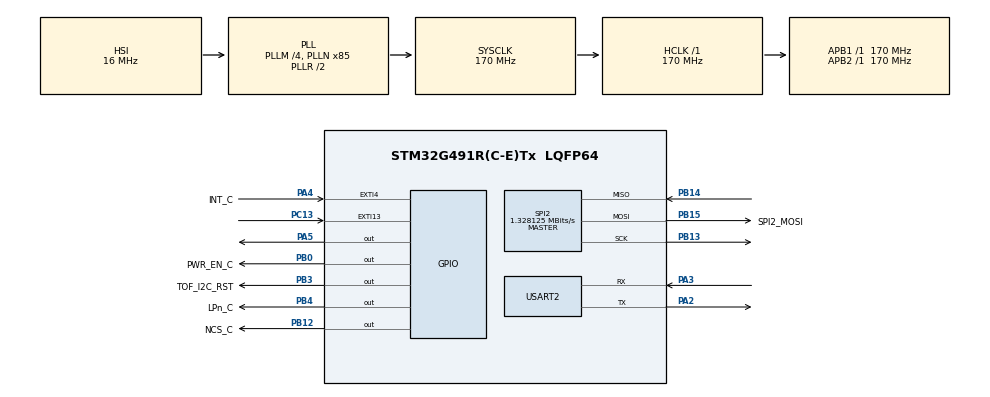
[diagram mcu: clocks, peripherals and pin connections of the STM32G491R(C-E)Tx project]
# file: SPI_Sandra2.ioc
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Mcu.Family=STM32G4
Mcu.Name=STM32G491R(C-E)Tx
Mcu.Package=LQFP64
NUCLEO-G491RE.BUTTON=1
NUCLEO-G491RE.LD2=true
NUCLEO-G491RE.VCP=true
NVIC.EXTI15_10_IRQn=true\:0\:0\:false\:false\:true\:true\:true\:true
NVIC.PriorityGroup=NVIC_PRIORITYGROUP_4
PA13.GPIO_Label=T_SWDIO
PA13.Signal=SYS_JTMS-SWDIO
PA14.GPIO_Label=T_SWCLK
PA14.Signal=SYS_JTCK-SWCLK
PA2.Mode=Asynchronous
PA2.Signal=USART2_TX
PA3.Mode=Asynchronous
PA3.Signal=USART2_RX
PA4.GPIO_Label=INT_C
PA4.GPIO_ModeDefaultEXTI=GPIO_MODE_IT_FALLING
PA4.Signal=GPXTI4
PA5.Signal=GPIO_Output
PB0.GPIO_Label=PWR_EN_C
PB0.GPIO_Speed=GPIO_SPEED_FREQ_HIGH
PB0.PinState=GPIO_PIN_SET
PB0.Signal=GPIO_Output
PB12.GPIO_Label=NCS_C
PB12.GPIO_Speed=GPIO_SPEED_FREQ_MEDIUM
PB12.PinState=GPIO_PIN_SET
PB12.Signal=GPIO_Output
PB13.Mode=Full_Duplex_Master
PB13.Signal=SPI2_SCK
PB14.Mode=Full_Duplex_Master
PB14.Signal=SPI2_MISO
PB15.GPIO_Label=SPI2_MOSI
PB15.GPIO_Speed=GPIO_SPEED_FREQ_HIGH
PB15.Mode=Full_Duplex_Master
PB15.Signal=SPI2_MOSI
PB3.GPIO_Label=TOF_I2C_RST
PB3.GPIO_PuPd=GPIO_PULLUP
PB3.GPIO_Speed=GPIO_SPEED_FREQ_HIGH
PB3.PinState=GPIO_PIN_SET
PB3.Signal=GPIO_Output
PB4.GPIO_Label=LPn_C
PB4.GPIO_PuPd=GPIO_PULLUP
PB4.GPIO_Speed=GPIO_SPEED_FREQ_HIGH
PB4.PinState=GPIO_PIN_SET
PB4.Signal=GPIO_Output
PC13.Signal=GPXTI13
PC14-OSC32_IN.GPIO_Label=RCC_OSC32_IN
PC14-OSC32_IN.Mode=LSE-External-Oscillator
PC14-OSC32_IN.Signal=RCC_OSC32_IN
PC15-OSC32_OUT.GPIO_Label=RCC_OSC32_OUT
PC15-OSC32_OUT.Mode=LSE-External-Oscillator
PC15-OSC32_OUT.Signal=RCC_OSC32_OUT
PF0-OSC_IN.GPIO_Label=RCC_OSC_IN
PF0-OSC_IN.Mode=HSE-External-Oscillator
PF0-OSC_IN.Signal=RCC_OSC_IN
PF1-OSC_OUT.GPIO_Label=RCC_OSC_OUT
PF1-OSC_OUT.Mode=HSE-External-Oscillator
PF1-OSC_OUT.Signal=RCC_OSC_OUT
ProjectManager.HeapSize=0x200
ProjectManager.StackSize=0x400
ProjectManager.TargetToolchain=STM32CubeIDE
RCC.ADC12Freq_Value=170000000
RCC.ADC345Freq_Value=170000000
RCC.AHBFreq_Value=170000000
RCC.APB1Freq_Value=170000000
RCC.APB1TimFreq_Value=170000000
RCC.APB2Freq_Value=170000000
RCC.APB2TimFreq_Value=170000000
RCC.CortexFreq_Value=170000000
RCC.EXTERNAL_CLOCK_VALUE=12288000
RCC.HCLKFreq_Value=170000000
RCC.HSE_VALUE=24000000
RCC.HSI48_VALUE=48000000
RCC.HSI_VALUE=16000000
RCC.PLLM=RCC_PLLM_DIV4
RCC.PLLN=85
RCC.RTCClockSelection=RCC_RTCCLKSOURCE_LSE
RCC.SYSCLKFreq_VALUE=170000000
RCC.SYSCLKSource=RCC_SYSCLKSOURCE_PLLCLK
RCC.USBFreq_Value=48000000
RCC.VCOOutputFreq_Value=340000000
SPI2.BaudRatePrescaler=SPI_BAUDRATEPRESCALER_128
SPI2.CLKPhase=SPI_PHASE_2EDGE
SPI2.CLKPolarity=SPI_POLARITY_HIGH
SPI2.CalculateBaudRate=1.328125 MBits/s
SPI2.DataSize=SPI_DATASIZE_8BIT
SPI2.Direction=SPI_DIRECTION_2LINES
SPI2.FirstBit=SPI_FIRSTBIT_MSB
SPI2.Mode=SPI_MODE_MASTER
SPI2.VirtualType=VM_MASTER
VP_NUCLEO-G491RE_VS_BSP_COMMON.Mode=COMMON
VP_SYS_VS_DBSignals.Mode=DisableDeadBatterySignals
board=NUCLEO-G491RE

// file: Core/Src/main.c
/* USER CODE BEGIN Header */
/**
  ******************************************************************************
  * @file           : main.c
  * @brief          : Main program body
  ******************************************************************************
  * @attention
  *
  * Copyright (c) 2025 STMicroelectronics.
  * All rights reserved.
  *
  * This software is licensed under terms that can be found in the LICENSE file
  * in the root directory of this software component.
  * If no LICENSE file comes with this software, it is provided AS-IS.
  *
  ******************************************************************************
  */
/* USER CODE END Header */
#include "main.h"

/* USER CODE BEGIN Includes */
#include <stdio.h>
#include "vl53l8cx_api.h"
/* USER CODE END Includes */

/* USER CODE BEGIN PTD */

#include "app_tof.h"
/* USER CODE END PTD */

/* USER CODE BEGIN PD */
#define is_interrupt 0 /*is_interrupt = 1 => get data by interrupt, = 0 => get data by polling */

/* Private includes ----------------------------------------------------------*/
/* USER CODE BEGIN Includes */

/* USER CODE END Includes */

/* Private typedef -----------------------------------------------------------*/
/* USER CODE BEGIN PTD */

/* USER CODE END PTD */

/* Private define ------------------------------------------------------------*/
/* USER CODE BEGIN PD */

/* USER CODE END PD */

COM_InitTypeDef BspCOMInit;
SPI_HandleTypeDef hspi2;

/* USER CODE BEGIN PV */
int status;
volatile int IntCount;
uint8_t p_data_ready;
VL53L8CX_Configuration 	Dev;
VL53L8CX_ResultsData 	Results;
uint8_t resolution, isAlive;
uint16_t idx;
/* USER CODE END PV */

void SystemClock_Config(void);
static void MX_GPIO_Init(void);
static void MX_SPI2_Init(void);

/* USER CODE BEGIN 0 */
void HAL_GPIO_EXTI_Callback(uint16_t GPIO_Pin)
{
	if (GPIO_Pin==INT_C_Pin)
	{
		IntCount++;
	}
}
/* Private user code ---------------------------------------------------------*/
/* USER CODE BEGIN 0 */

/* USER CODE END 0 */

int main(void)
{

  /* MCU Configuration--------------------------------------------------------*/

  /* Reset of all peripherals, Initializes the Flash interface and the Systick. */
  HAL_Init();

  /* Configure the system clock */
  SystemClock_Config();

  /* Initialize all configured peripherals */
  MX_GPIO_Init();
  MX_SPI2_Init();
  /* USER CODE BEGIN 2 */

  MX_TOF_Init();
  /* USER CODE END 2 */

  /* Initialize led */
  BSP_LED_Init(LED_GREEN);

  /* Initialize USER push-button, will be used to trigger an interrupt each time it's pressed.*/
  BSP_PB_Init(BUTTON_USER, BUTTON_MODE_EXTI);

  /* Initialize COM1 port (115200, 8 bits (7-bit data + 1 stop bit), no parity */
  BspCOMInit.BaudRate   = 115200;
  BspCOMInit.WordLength = COM_WORDLENGTH_8B;
  BspCOMInit.StopBits   = COM_STOPBITS_1;
  BspCOMInit.Parity     = COM_PARITY_NONE;
  BspCOMInit.HwFlowCtl  = COM_HWCONTROL_NONE;
  if (BSP_COM_Init(COM1, &BspCOMInit) != BSP_ERROR_NONE)
  {
    Error_Handler();
  }

  /* Infinite loop */
  while(1){

	//  HAL_Delay(2000);
	//  printf("No error");
	 MX_TOF_Process();

  }
  /* USER CODE BEGIN WHILE */

  //VL53L8CX_Reset_Sensor(&(Dev.platform));

/*	HAL_GPIO_WritePin(PWR_EN_C_GPIO_Port, PWR_EN_C_Pin, GPIO_PIN_RESET);
	HAL_Delay(20);
	HAL_GPIO_WritePin(PWR_EN_C_GPIO_Port, PWR_EN_C_Pin, GPIO_PIN_SET);
	HAL_Delay(20);
	HAL_GPIO_WritePin(LPn_C_GPIO_Port, LPn_C_Pin, GPIO_PIN_RESET);
	HAL_Delay(20);
	HAL_GPIO_WritePin(LPn_C_GPIO_Port, LPn_C_Pin, GPIO_PIN_SET);
	HAL_Delay(20);
*/
  // Reset and Power Cycle the Sensor
      /*HAL_GPIO_WritePin(PWR_EN_C_GPIO_Port, PWR_EN_C_Pin, GPIO_PIN_RESET);
      HAL_Delay(20);
      HAL_GPIO_WritePin(PWR_EN_C_GPIO_Port, PWR_EN_C_Pin, GPIO_PIN_SET);
      HAL_Delay(20);
      HAL_GPIO_WritePin(LPn_C_GPIO_Port, LPn_C_Pin, GPIO_PIN_RESET);
      HAL_Delay(20);
      HAL_GPIO_WritePin(LPn_C_GPIO_Port, LPn_C_Pin, GPIO_PIN_SET);
      HAL_Delay(20);
*/
      // Initialize the Sensor

    /* USER CODE END WHILE */

}

void SystemClock_Config(void)
{
  RCC_OscInitTypeDef RCC_OscInitStruct = {0};
  RCC_ClkInitTypeDef RCC_ClkInitStruct = {0};

  /** Configure the main internal regulator output voltage
  */
  HAL_PWREx_ControlVoltageScaling(PWR_REGULATOR_VOLTAGE_SCALE1_BOOST);

  /** Initializes the RCC Oscillators according to the specified parameters
  * in the RCC_OscInitTypeDef structure.
  */
  RCC_OscInitStruct.OscillatorType = RCC_OSCILLATORTYPE_HSI;
  RCC_OscInitStruct.HSIState = RCC_HSI_ON;
  RCC_OscInitStruct.HSICalibrationValue = RCC_HSICALIBRATION_DEFAULT;
  RCC_OscInitStruct.PLL.PLLState = RCC_PLL_ON;
  RCC_OscInitStruct.PLL.PLLSource = RCC_PLLSOURCE_HSI;
  RCC_OscInitStruct.PLL.PLLM = RCC_PLLM_DIV4;
  RCC_OscInitStruct.PLL.PLLN = 85;
  RCC_OscInitStruct.PLL.PLLP = RCC_PLLP_DIV2;
  RCC_OscInitStruct.PLL.PLLQ = RCC_PLLQ_DIV2;
  RCC_OscInitStruct.PLL.PLLR = RCC_PLLR_DIV2;
  if (HAL_RCC_OscConfig(&RCC_OscInitStruct) != HAL_OK)
  {
    Error_Handler();
  }

  /** Initializes the CPU, AHB and APB buses clocks
  */
  RCC_ClkInitStruct.ClockType = RCC_CLOCKTYPE_HCLK|RCC_CLOCKTYPE_SYSCLK
                              |RCC_CLOCKTYPE_PCLK1|RCC_CLOCKTYPE_PCLK2;
  RCC_ClkInitStruct.SYSCLKSource = RCC_SYSCLKSOURCE_PLLCLK;
  RCC_ClkInitStruct.AHBCLKDivider = RCC_SYSCLK_DIV1;
  RCC_ClkInitStruct.APB1CLKDivider = RCC_HCLK_DIV1;
  RCC_ClkInitStruct.APB2CLKDivider = RCC_HCLK_DIV1;

  if (HAL_RCC_ClockConfig(&RCC_ClkInitStruct, FLASH_LATENCY_4) != HAL_OK)
  {
    Error_Handler();
  }
}

static void MX_SPI2_Init(void)
{

  /* SPI2 parameter configuration*/
  hspi2.Instance = SPI2;
  hspi2.Init.Mode = SPI_MODE_MASTER;
  hspi2.Init.Direction = SPI_DIRECTION_2LINES;
  hspi2.Init.DataSize = SPI_DATASIZE_8BIT;
  hspi2.Init.CLKPolarity = SPI_POLARITY_HIGH;
  hspi2.Init.CLKPhase = SPI_PHASE_2EDGE;
  hspi2.Init.NSS = SPI_NSS_SOFT;
  hspi2.Init.BaudRatePrescaler = SPI_BAUDRATEPRESCALER_64;
  hspi2.Init.FirstBit = SPI_FIRSTBIT_MSB;
  hspi2.Init.TIMode = SPI_TIMODE_DISABLE;
  hspi2.Init.CRCCalculation = SPI_CRCCALCULATION_DISABLE;
  hspi2.Init.CRCPolynomial = 7;
  hspi2.Init.CRCLength = SPI_CRC_LENGTH_DATASIZE;
  hspi2.Init.NSSPMode = SPI_NSS_PULSE_DISABLE;
  if (HAL_SPI_Init(&hspi2) != HAL_OK)
  {
    Error_Handler();
  }

}

static void MX_GPIO_Init(void)
{
  GPIO_InitTypeDef GPIO_InitStruct = {0};

  /* GPIO Ports Clock Enable */
  __HAL_RCC_GPIOC_CLK_ENABLE();
  __HAL_RCC_GPIOF_CLK_ENABLE();
  __HAL_RCC_GPIOA_CLK_ENABLE();
  __HAL_RCC_GPIOB_CLK_ENABLE();

  /*Configure GPIO pin Output Level */
  HAL_GPIO_WritePin(GPIOB, PWR_EN_C_Pin|NCS_C_Pin|TOF_I2C_RST_Pin|LPn_C_Pin, GPIO_PIN_SET);

  /*Configure GPIO pin : INT_C_Pin */
  GPIO_InitStruct.Pin = INT_C_Pin;
  GPIO_InitStruct.Mode = GPIO_MODE_IT_FALLING;
  GPIO_InitStruct.Pull = GPIO_NOPULL;
  HAL_GPIO_Init(INT_C_GPIO_Port, &GPIO_InitStruct);

  /*Configure GPIO pin : PWR_EN_C_Pin */
  GPIO_InitStruct.Pin = PWR_EN_C_Pin;
  GPIO_InitStruct.Mode = GPIO_MODE_OUTPUT_PP;
  GPIO_InitStruct.Pull = GPIO_NOPULL;
  GPIO_InitStruct.Speed = GPIO_SPEED_FREQ_HIGH;
  HAL_GPIO_Init(PWR_EN_C_GPIO_Port, &GPIO_InitStruct);

  /*Configure GPIO pin : NCS_C_Pin */
  GPIO_InitStruct.Pin = NCS_C_Pin;
  GPIO_InitStruct.Mode = GPIO_MODE_OUTPUT_PP;
  GPIO_InitStruct.Pull = GPIO_NOPULL;
  GPIO_InitStruct.Speed = GPIO_SPEED_FREQ_MEDIUM;
  HAL_GPIO_Init(NCS_C_GPIO_Port, &GPIO_InitStruct);

  /*Configure GPIO pins : TOF_I2C_RST_Pin LPn_C_Pin */
  GPIO_InitStruct.Pin = TOF_I2C_RST_Pin|LPn_C_Pin;
  GPIO_InitStruct.Mode = GPIO_MODE_OUTPUT_PP;
  GPIO_InitStruct.Pull = GPIO_PULLUP;
  GPIO_InitStruct.Speed = GPIO_SPEED_FREQ_HIGH;
  HAL_GPIO_Init(GPIOB, &GPIO_InitStruct);

/* USER CODE BEGIN MX_GPIO_Init_2 */

  // Configure NCS_C as an Output
  GPIO_InitStruct.Pin = NCS_C_Pin;
  GPIO_InitStruct.Mode = GPIO_MODE_OUTPUT_PP;
  GPIO_InitStruct.Pull = GPIO_NOPULL;
  GPIO_InitStruct.Speed = GPIO_SPEED_FREQ_HIGH;
  HAL_GPIO_Init(NCS_C_GPIO_Port, &GPIO_InitStruct);

  // Ensure NCS is HIGH before starting SPI
  HAL_GPIO_WritePin(NCS_C_GPIO_Port, NCS_C_Pin, GPIO_PIN_SET);

 /*
  GPIO_InitStruct.Pin = GPIO_PIN_14;  // MISO
  GPIO_InitStruct.Mode = GPIO_MODE_INPUT;  // Change from AF_PP to INPUT
  GPIO_InitStruct.Pull = GPIO_PULLDOWN;   // Enable pulldown instead of pull-up
  GPIO_InitStruct.Speed = GPIO_SPEED_FREQ_HIGH;
  HAL_GPIO_Init(GPIOB, &GPIO_InitStruct);
*/

/* USER CODE END MX_GPIO_Init_2 */
}

/* USER CODE BEGIN 4 */

void print_result(VL53L8CX_ResultsData *Result, uint8_t resolution) {
    printf("\n================= ToF Sensor Data =================\n");
    printf(" Ranging Profile: %dx%d | Resolution: %d zones\n",
           (resolution == VL53L8CX_RESOLUTION_4X4) ? 4 : 8,
           (resolution == VL53L8CX_RESOLUTION_4X4) ? 4 : 8,
           resolution);

    printf("----g----------------------------------------------\n");
    printf("| Zone |  Distance [mm]  | Target Status |  Signal  |  Ambient  |\n");
    printf("--------------------------------------------------\n");

    for (uint8_t i = 0; i < resolution; i++) {
        printf("|  %2d  |", i);

        if (Result->nb_target_detected[i] > 0) {
            printf("      %4d       |      %3u       |  %6lu  |  %6lu  |\n",
                   Result->distance_mm[i],
                   Result->target_status[i],
                   Result->signal_per_spad[i],
                   Result->ambient_per_spad[i]);
        } else {
            printf("     ---       |      ---       |   ---   |   ---   |\n");
        }
    }
    printf("--------------------------------------------------\n\n");
}

void get_data_by_interrupt(VL53L8CX_Configuration *p_dev){
	do
	{
		__WFI();	// Wait for interrupt
		if(IntCount !=0 ){
			IntCount=0;
			status = vl53l8cx_get_resolution(p_dev, &resolution);
			status = vl53l8cx_get_ranging_data(p_dev, &Results);

			for(int i = 0; i < resolution;i++){
				/* Print per zone results */
				printf("Zone : %2d, Nb targets : %2u, Ambient : %4lu Kcps/spads, ",
						i,
						Results.nb_target_detected[i],
						Results.ambient_per_spad[i]);

				/* Print per target results */
				if(Results.nb_target_detected[i] > 0){
					printf("Target status : %3u, Distance : %4d mm\n",
							Results.target_status[VL53L8CX_NB_TARGET_PER_ZONE * i],
							Results.distance_mm[VL53L8CX_NB_TARGET_PER_ZONE * i]);
				}else{
					printf("Target status : 255, Distance : No target\n");
				}
			}
			printf("\n");
		}
	}while(1);
}

void get_data_by_polling(VL53L8CX_Configuration *p_dev){
	do
	{
		status = vl53l8cx_check_data_ready(&Dev, &p_data_ready);
		if(p_data_ready){
			status = vl53l8cx_get_resolution(p_dev, &resolution);
			status = vl53l8cx_get_ranging_data(p_dev, &Results);

			for(int i = 0; i < resolution;i++){
				/* Print per zone results */
				printf("Zone : %2d, Nb targets : %2u, Ambient : %4lu Kcps/spads, ",
						i,
						Results.nb_target_detected[i],
						Results.ambient_per_spad[i]);

				/* Print per target results */
				if(Results.nb_target_detected[i] > 0){
					printf("Target status : %3u, Distance : %4d mm\n",
							Results.target_status[VL53L8CX_NB_TARGET_PER_ZONE * i],
							Results.distance_mm[VL53L8CX_NB_TARGET_PER_ZONE * i]);
				}else{
					printf("Target status : 255, Distance : No target\n");
				}
			}
			printf("\n");
		}else{
			HAL_Delay(5);
		}
	}
	while(1);
}

/* USER CODE END 4 */

void Error_Handler(void)
{
  __disable_irq();
  while (1)
  {
  }
}
